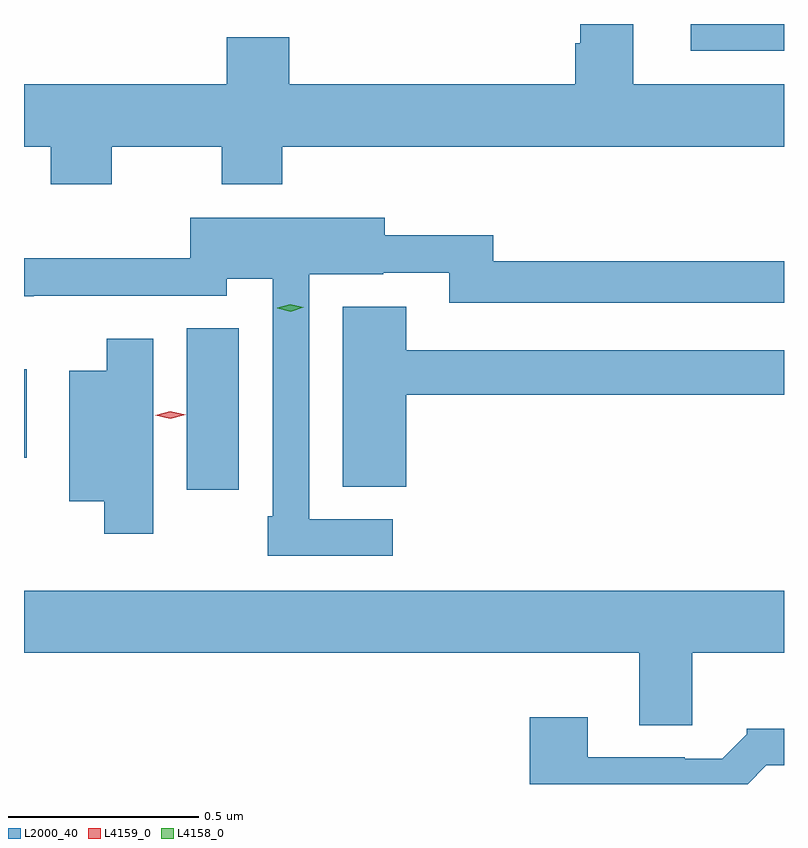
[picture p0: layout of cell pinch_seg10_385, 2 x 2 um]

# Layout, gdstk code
import gdstk
lib = gdstk.Library(unit=1e-6, precision=1e-09)
def R(c, l, rs):  # rectangles x0, y0, x1, y1
    for r in rs: c.add(gdstk.rectangle(r[:2], r[2:], *l))
def P(c, l, *ps):  # polygons
    for p in ps: c.add(gdstk.Polygon(p, *l))
L2000_40 = (2000, 40)
L4158_0 = (4158, 0)
L4159_0 = (4159, 0)

pinch_seg10_385 = lib.new_cell('pinch_seg10_385')
R(pinch_seg10_385, L2000_40, [(480.368,1258.122,480.505,1258.547), (479.94,1258.205,479.947,1258.438), (481.695,1259.277,481.94,1259.347)])
P(pinch_seg10_385, L2000_40, [(480.171,1259.024),(480.46,1259.024),(480.46,1258.925),(480.62,1258.925),(480.62,1259.024),(481.94,1259.024),(481.94,1259.188),(481.543,1259.188),(481.543,1259.347),(481.404,1259.347),(481.404,1259.297),(481.391,1259.297),(481.391,1259.188),(480.638,1259.188),(480.638,1259.312),(480.473,1259.312),(480.473,1259.188),(479.94,1259.188),(479.94,1259.024),(480.011,1259.024),(480.011,1258.925),(480.171,1258.925)],
  [(480.91,1258.044),(480.69,1258.044),(480.69,1258.688),(480.885,1258.688),(480.885,1258.692),(481.059,1258.692),(481.059,1258.614),(481.94,1258.614),(481.94,1258.723),(481.175,1258.723),(481.175,1258.791),(480.889,1258.791),(480.889,1258.837),(480.378,1258.837),(480.378,1258.73),(479.94,1258.73),(479.94,1258.631),(479.965,1258.631),(479.965,1258.632),(480.474,1258.632),(480.474,1258.676),(480.594,1258.676),(480.594,1258.051),(480.582,1258.051),(480.582,1257.948),(480.91,1257.948)],
  [(480.946,1258.372),(481.94,1258.372),(481.94,1258.488),(480.946,1258.488),(480.946,1258.603),(480.779,1258.603),(480.779,1258.129),(480.946,1258.129)],
  [(480.28,1258.519),(480.158,1258.519),(480.158,1258.435),(480.059,1258.435),(480.059,1258.091),(480.151,1258.091),(480.151,1258.005),(480.28,1258.005)],
  [(481.699,1257.692),(481.94,1257.692),(481.94,1257.856),(479.94,1257.856),(479.94,1257.692),(481.559,1257.692),(481.559,1257.502),(481.699,1257.502)],
  [(481.893,1257.396),(481.94,1257.396),(481.94,1257.493),(481.842,1257.493),(481.842,1257.478),(481.778,1257.414),(481.679,1257.414),(481.679,1257.417),(481.423,1257.417),(481.423,1257.523),(481.271,1257.523),(481.271,1257.347),(481.844,1257.347)])
P(pinch_seg10_385, L4158_0, [(480.642,1258.59),(480.607,1258.599),(480.607,1258.6),(480.607,1258.6),(480.641,1258.61),(480.676,1258.601),(480.676,1258.601),(480.676,1258.601)])
P(pinch_seg10_385, L4159_0, [(480.325,1258.308),(480.285,1258.317),(480.285,1258.317),(480.285,1258.317),(480.325,1258.328),(480.365,1258.319),(480.365,1258.319),(480.365,1258.319)])

lib.write_gds('pinch_seg10_385.gds')
